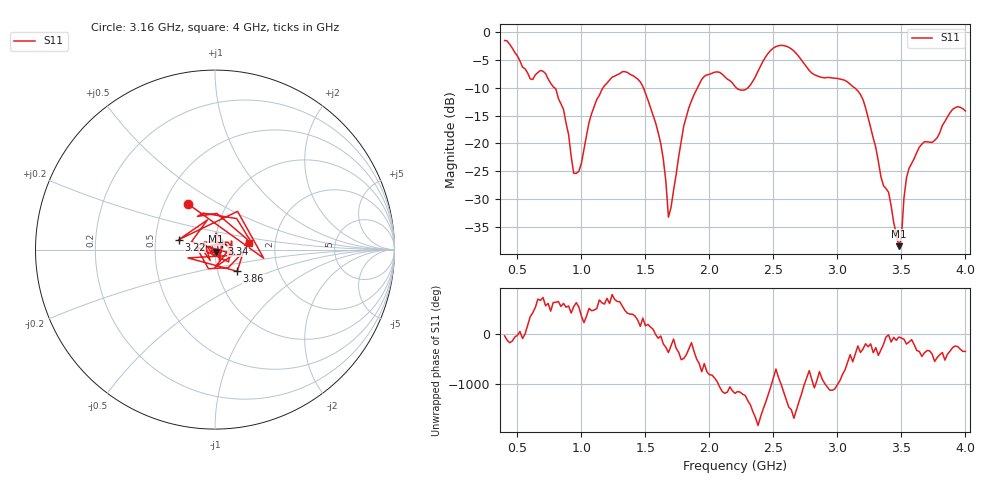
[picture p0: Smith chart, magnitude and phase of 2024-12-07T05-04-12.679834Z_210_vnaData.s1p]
!Created with skrf (http://scikit-rf.org).
# Hz S RI R 50.0
!freq ReS11 ImS11
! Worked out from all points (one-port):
!   181 points, 400 MHz to 4 GHz, reference 50 ohm
!   lowest |S11| = -38.4 dB at 3.48 GHz (marker M1), VSWR 1.02, Z = 50.6 - j1.07 ohm
!   |S11| at or under -10 dB: 789 MHz to 1.17 GHz (380.8 MHz wide, 38.9 % of centre); 1.484 GHz to 1.907 GHz (422.8 MHz wide, 24.9 % of centre); 3.133 GHz to end of sweep (the widest 3 of 4)
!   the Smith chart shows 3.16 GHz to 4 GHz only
!   S11 on the Smith chart (normalised r, x): 3.16 GHz: 0.66, +0.37; 3.22 GHz: 0.66, +0.08; 3.34 GHz: 1.07, +0.07; 3.86 GHz: 1.24, -0.31; 4 GHz: 1.47, +0.12
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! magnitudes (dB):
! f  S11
! 400 MHz  -1.5
! 600 MHz  -8.4
! 720 MHz  -7.5
! 860 MHz  -13.9
! 940 MHz  -25.4
! 960 MHz  -25.4
! 1.12 GHz  -12.1
! 1.3 GHz  -7.5
! 1.46 GHz  -9.0
! 1.56 GHz  -14.9
! 1.64 GHz  -22.9
! 1.68 GHz  -33.2
! 1.76 GHz  -22.3
! 1.84 GHz  -13.6
! 1.94 GHz  -8.5
! 2.2 GHz  -9.8
! 2.3 GHz  -10.0
! 2.5 GHz  -2.9
! 2.66 GHz  -3.4
! 3.1 GHz  -9.4
! 3.16 GHz  -10.6
! 3.22 GHz  -13.6
! 3.34 GHz  -26.0
! 3.4 GHz  -28.8
! 3.48 GHz  -38.4
! 3.56 GHz  -24.4
! 3.86 GHz  -15.2
! 4 GHz  -14.2
